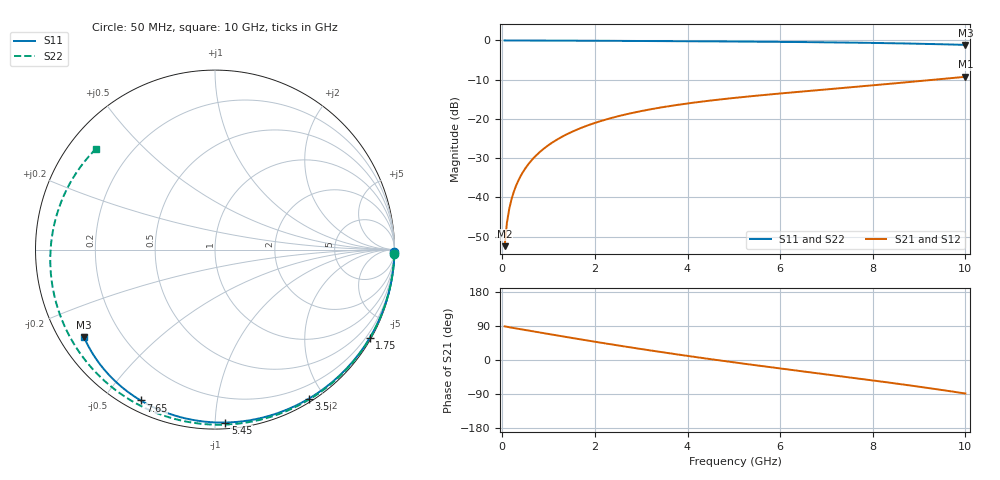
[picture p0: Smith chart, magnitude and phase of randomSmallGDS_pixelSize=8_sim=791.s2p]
! freq	dB(S11)	phase(S11)	dB(S12)	phase(S12)
!  dB(S21)	phase(S21)	dB(S22)	phase(S22)
!S-par simulation data
#  GHz  S  DB  R 50
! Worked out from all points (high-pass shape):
!   200 points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, 50 MHz to 10 GHz, reference 50 ohm
!   highest |S21| = -9.27 dB at 10 GHz (marker M1); lowest = -52.4 dB at 50 MHz (marker M2)
!   |S21| within 3 dB of the highest: 7.203 GHz to end of sweep
!   lowest |S11| = -1.1 dB at 10 GHz (marker M3), VSWR 15.39, Z = 3.55 - j15.1 ohm
!   |S11| at or under -10 dB: nowhere
!   |S22| runs from -1.2 to 0.0 dB; largest |S21 - S12| = 0
!   S11 on the Smith chart (normalised r, x): 50 MHz: open; 1.75 GHz: 0.06, -3.76; 3.5 GHz: 0.04, -1.81; 5.45 GHz: 0.04, -1.06; 7.65 GHz: 0.05, -0.62; 10 GHz: 0.07, -0.30
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0.05  -0.00 -0.9  -52.44 88.8  -52.44 88.8  -0.00 -1.3
0.1  -0.00 -1.7  -46.44 87.6  -46.44 87.6  -0.00 -2.6
0.15  -0.00 -2.6  -42.94 86.4  -42.94 86.4  -0.01 -3.8
0.2  -0.01 -3.5  -40.46 85.4  -40.46 85.4  -0.01 -5.1
0.35  -0.01 -6.0  -35.63 82.2  -35.63 82.2  -0.01 -8.9
0.5  -0.01 -8.6  -32.57 79.1  -32.57 79.1  -0.02 -12.6
0.7  -0.02 -12.0  -29.68 74.8  -29.68 74.8  -0.03 -17.7
1  -0.03 -17.2  -26.66 68.5  -26.66 68.5  -0.04 -25.1
1.35  -0.05 -23.1  -24.17 61.3  -24.17 61.3  -0.06 -33.7
1.75  -0.06 -29.8  -22.07 53.2  -22.07 53.2  -0.08 -43.4
2.6  -0.11 -43.7  -19.03 36.5  -19.03 36.5  -0.13 -63.3
3.4  -0.16 -56.3  -17.14 21.5  -17.14 21.5  -0.19 -81.2
3.5  -0.16 -57.8  -16.94 19.7  -16.94 19.7  -0.19 -83.4
4.25  -0.21 -69.2  -15.68 6.5  -15.68 6.5  -0.25 -99.3
5.05  -0.27 -80.9  -14.60 -7.0  -14.60 -7.0  -0.32 -115.6
5.45  -0.31 -86.6  -14.13 -13.5  -14.13 -13.5  -0.36 -123.6
6.1  -0.37 -95.6  -13.41 -23.9  -13.41 -23.9  -0.43 -136.5
6.7  -0.43 -103.7  -12.79 -33.3  -12.79 -33.3  -0.50 -148.3
7.65  -0.57 -116.3  -11.81 -48.3  -11.81 -48.3  -0.65 -167.4
8.35  -0.69 -125.3  -11.07 -59.5  -11.07 -59.5  -0.78 178.0
9.2  -0.89 -136.1  -10.15 -74.0  -10.15 -74.0  -0.98 159.1
10  -1.13 -146.2  -9.27 -88.5  -9.27 -88.5  -1.22 139.7
